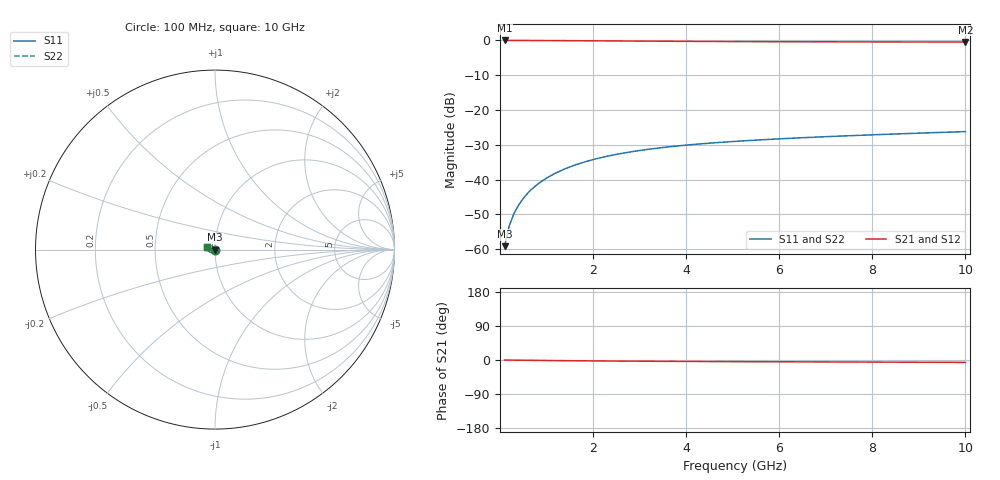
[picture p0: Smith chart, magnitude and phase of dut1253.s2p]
! Touchstone file exported from HFSS 2024.1.0
!  File:  C:/UserFiles/LocalFiles/RDL_TSV_Batchsim/temp_TSV1_1253_1780252639.aedt
!  Generated:  02:44:30 AM Jun  1, 2026
!  Design:  TSV1
!  Project:  temp_TSV1_1253_1780252639
!  Setup:  Setup1
!  Solution:  Sweep
! Variables:
!  dtsv = 7.74um
!  hbump = 3um
!  htsv = 99.56um
!  lrdl = 252.1521522um
!  p = 40
!  p1 = 50.79um
!  t = 500um
!  trdl = 3um
!  wrdl = 24.89489489um
# GHz S MA R 50.000000
! Terminal data exported
! Port[1] = TSV22_T1
! Port[2] = TSV22_T2
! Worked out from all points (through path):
!   100 points, 100 MHz to 10 GHz, reference 50 ohm
!   highest |S21| = 0.00 dB at 100 MHz (marker M1); lowest = -0.5 dB at 10 GHz (marker M2)
!   lowest |S11| = -59.1 dB at 100 MHz (marker M3), VSWR 1.00, Z = 50 - j0.108 ohm
!   |S11| at or under -10 dB: start of sweep to end of sweep
!   |S22| runs from -59.1 to -26.2 dB; largest |S21 - S12| = 7.9e-15
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0.1  0.001105 -77.4  0.9997 -0.1  0.9997 -0.1  0.001105 -77.4
! Gamma 0 0 0 0
! Port Impedance 50 0 50 0
0.2  0.002168 -86.3  0.9996 -0.3  0.9996 -0.3  0.002168 -86.3
0.3  0.003239 -90.7  0.9994 -0.4  0.9994 -0.4  0.003239 -90.7
0.4  0.004306 -93.9  0.9991 -0.5  0.9991 -0.5  0.004306 -93.9
0.5  0.005366 -96.6  0.9988 -0.7  0.9988 -0.7  0.005366 -96.6
0.6  0.006417 -99.0  0.9984 -0.8  0.9984 -0.8  0.006417 -99.0
0.7  0.007456 -101.3  0.9979 -0.9  0.9979 -0.9  0.007456 -101.3
0.8  0.008483 -103.4  0.9974 -1.1  0.9974 -1.1  0.008482 -103.4
0.9  0.009494 -105.5  0.9968 -1.2  0.9968 -1.2  0.009494 -105.5
1.1  0.01147 -109.5  0.9955 -1.4  0.9955 -1.4  0.01147 -109.5
1.4  0.01429 -115.2  0.9933 -1.8  0.9933 -1.8  0.01429 -115.2
1.6  0.01607 -118.8  0.9916 -2.0  0.9916 -2.0  0.01607 -118.8
1.8  0.01777 -122.3  0.9898 -2.2  0.9898 -2.2  0.01777 -122.3
2.1  0.02015 -127.3  0.9871 -2.5  0.9871 -2.5  0.02015 -127.3
2.5  0.02302 -133.5  0.9834 -2.8  0.9834 -2.8  0.02302 -133.5
2.9  0.02559 -139.3  0.9799 -3.1  0.9799 -3.1  0.02558 -139.3
3.4  0.02839 -146.0  0.9757 -3.4  0.9757 -3.4  0.02839 -146.0
4.2  0.03215 -155.4  0.9698 -3.8  0.9698 -3.8  0.03215 -155.4
5.1  0.0356 -164.6  0.9644 -4.3  0.9644 -4.3  0.0356 -164.6
6.7  0.04055 -178.1  0.9574 -5.0  0.9574 -5.0  0.04055 -178.1
8.4  0.04502 170.4  0.9524 -5.7  0.9524 -5.7  0.04502 170.4
10  0.04895 161.4  0.9492 -6.4  0.9492 -6.4  0.04895 161.4
